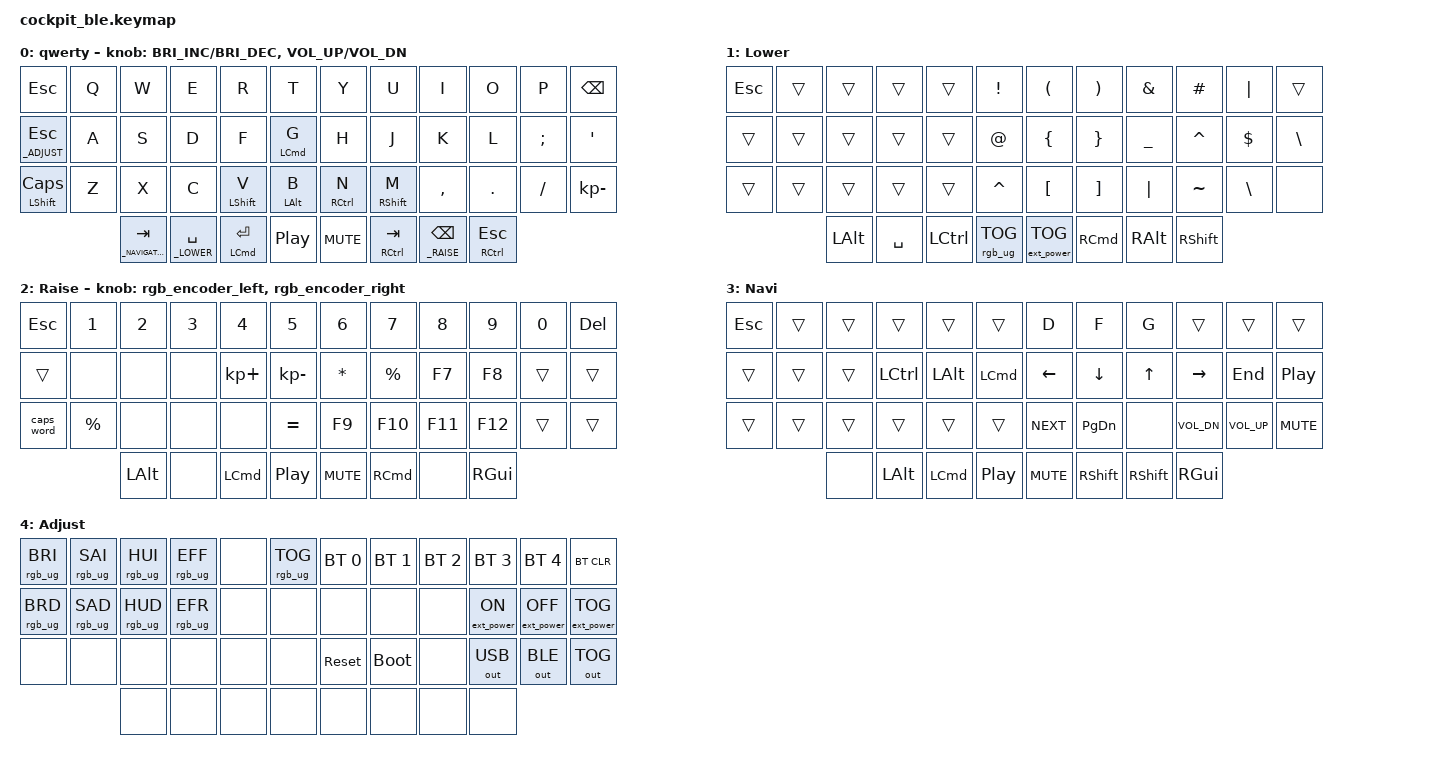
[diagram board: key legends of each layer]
/*
 * Copyright (c) 2023 ozkan (github.com/ozkan)
 *
 * SPDX-License-Identifier: MIT
 */

#include <behaviors.dtsi>
#include <dt-bindings/zmk/keys.h>
#include <dt-bindings/zmk/ext_power.h>
#include <dt-bindings/zmk/outputs.h>
#include <dt-bindings/zmk/bt.h>
#include <dt-bindings/zmk/rgb.h>


// Layers
#define _QWERTY       0
#define _LOWER         1
#define _RAISE         2
// #define _SPACE_RIGHT   3
// #define _SPACE_LEFT    4
#define _NAVIGATION    3
#define _ADJUST        4

// Using layer taps on thumbs, having quick tap as well helps w/ repeating space
&lt {
  quick_tap_ms = <200>;
};

&left_encoder {
     resolution = <4>;
};
&right_encoder {
     resolution = <4>;
};


/ {
    behaviors {
        ht: hold_tap {
            label = "hold_tap";
            compatible = "zmk,behavior-hold-tap";
            #binding-cells = <2>;
            flavor = "tap-preferred";
            tapping-term-ms = <200>;
            quick-tap-ms = <150>;
            global-quick-tap;
            bindings = <&kp>, <&kp>;
        };
        rgb_encoder_right: rgb_encoder_right {
            compatible = "zmk,behavior-sensor-rotate";
            label = "RGB_ENCODER_RIGHT";
            #sensor-binding-cells = <0>;
            bindings =  <&rgb_ug RGB_BRI>, <&rgb_ug RGB_BRD>;
        };
        rgb_encoder_left: rgb_encoder_left {
            compatible = "zmk,behavior-sensor-rotate";
            label = "RGB_ENCODER_LEFT";
            #sensor-binding-cells = <0>;
            bindings = <&rgb_ug RGB_EFF>, <&rgb_ug RGB_EFR>;
        };

    };

    keymap {
        compatible = "zmk,keymap";
        default_layer {
       // ╭──────┬──────┬──────┬──────┬──────┬──────╮                          ╭──────┬──────┬──────┬──────┬──────┬──────╮
       // │  ESC │  Q   │  W   │  E   │  R   │  T   │                          │  Y   │  U   │  I   │  O   │   P  │ BKSP │
       // ├──────┼──────┼──────┼──────┼──────┼──────┤                          ├──────┼──────┼──────┼──────┼──────┼──────┤
       // │   Z  │  A   │  S   │  D   │  F   │  G   │                          │  H   │  J   │  K   │  L   │  ;   │  '   │
       // ├──────┼──────┼──────┼──────┼──────┼──────┤                          ├──────┼──────┼──────┼──────┼──────┼──────┤
       // │SFT_CL│  Z   │  X   │  C   │  V   │  B   │         (ENCODERS)       │  N   │  M   │,     │.     │  /   │      |
       // ╰──────┴──────┴──────┼──────┼──────┼──────┴─╮ ╭────────╮╭────────╮ ╭─┴──────┼──────┼──────┼──────┴──────┴──────╯
       //                      │  NAV │LOWER │ SPACE  │ │  PAUSE ││  PAUSE │ │ SPACE  │RAISE │ WIN  │
       //                      ╰──────┴──────┴────────╯ ╰────────╯╰────────╯ ╰────────┴──────┴──────╯
            label = "qwerty";
            bindings = <
                &kp ESC        &kp Q      &kp W       &kp E       &kp R              &kp T                           &kp Y  &kp U    &kp I      &kp O     &kp P &kp BKSP
                &lt _ADJUST ESC      &kp A      &kp S       &kp D       &kp F              &ht LCMD G                            &kp H    &kp J      &kp K       &kp L        &kp SEMI  &kp SQT
                &ht LSHFT CLCK &kp Z      &kp X       &kp C       &ht LSHFT V              &ht LALT B                           &ht RCTRL N &ht RSHFT M  &kp COMMA         &kp DOT            &kp FSLH     &kp KP_MINUS
                                    &lt _NAVIGATION TAB    &lt _LOWER SPACE    &ht LCMD ENTER         &kp C_PLAY_PAUSE  &kp C_MUTE       &ht RCTRL TAB          &lt _RAISE BSPC     &ht RCTRL ESC
            >;
            sensor-bindings = <&inc_dec_kp C_BRI_INC C_BRI_DEC &inc_dec_kp C_VOL_UP C_VOL_DN>;
        };


        lower_layer {
        // ╭──────┬──────┬──────┬──────┬──────┬──────╮                          ╭──────┬──────┬──────┬──────┬──────┬──────╮
        // │ ESC  │      │      │      │      │   !  │                          │  (   │  )   │  &   │      │      │ DEL  │
        // ├──────┼──────┼──────┼──────┼──────┼──────┤                          ├──────┼──────┼──────┼──────┼──────┼──────┤
        // │      │      │      │      │      │   @  │                          │  {   │  }   │  _   │  $   │  #   │      │
        // ├──────┼──────┼──────┼──────┼──────┼──────┤                          ├──────┼──────┼──────┼──────┼──────┼──────┤
        // │      │      │      │      │      │   ^  │                          │  [   │  ]   │  |   │  ~   │  \   │      │
        // ╰──────┴──────┴──────┼──────┼──────┼──────┴─╮ ╭────────╮╭────────╮ ╭─┴──────┼──────┼──────┼──────┴──────┴──────╯
        //                      │  ALT │LOWER │ SPACE  │ │  PREV  ││  NEXT  │ │  ENTER │RAISE │ WIN  │
        //                      ╰──────┴──────┴────────╯ ╰────────╯╰────────╯ ╰────────┴──────┴──────╯
            label = "Lower";
            bindings = <
                &kp ESC  &trans  &trans   &trans        &trans          &kp EXCL                        &kp LPAR  &kp RPAR      &kp AMPS        &kp HASH           &kp PIPE  &trans
                &trans   &trans  &trans   &trans        &trans          &kp AT                        &kp LBRC  &kp RBRC      &kp UNDER          &kp CARET           &kp DOLLAR     &kp BACKSLASH
                &trans   &trans  &trans   &trans        &trans          &kp CARET                        &kp LBKT  &kp RBKT      &kp PIPE   &kp TILDE  &kp BSLH &none
                                 &kp LALT  &kp SPACE    &kp LCTRL         &rgb_ug RGB_TOG  &ext_power EP_TOG       &kp RCMD      &kp RALT     &kp RSHFT
            >;

        };


        raise_layer {
        // ╭──────┬──────┬──────┬──────┬──────┬──────╮                          ╭──────┬──────┬──────┬──────┬──────┬──────╮
        // │ ESC  │  1   │  2   │  3   │  4   │  5   │                          │  6   │  7   │   8  │   9  │  0   │      │
        // ├──────┼──────┼──────┼──────┼──────┼──────┤                          ├──────┼──────┼──────┼──────┼──────┼──────┤
        // │      │  *   │  4   │  5   │  +   │  -   │                          │  *   │  %   │  F7  │  F8  │      │      │
        // ├──────┼──────┼──────┼──────┼──────┼──────┤                          ├──────┼──────┼──────┼──────┼──────┼──────┤
        // │      │  %   │  1   │  2   │  3   │  =   │                          │  F9  │  F10 │ F11  │  F1  │      │      │
        // ╰──────┴──────┴──────┼──────┼──────┼──────┴─╮ ╭────────╮╭────────╮ ╭─┴──────┼──────┼──────┼──────┴──────┴──────╯
        //                      │  ALT |  0   │ SPACE  │ │  PAUSE ││  PAUSE │ │ CMD   │RAISE │ WIN  │
        //                      ╰──────┴──────┴────────╯ ╰────────╯╰────────╯ ╰────────┴──────┴──────╯
            label = "Raise";
            bindings = <
                &kp ESC      &kp N1    &kp N2    &kp N3        &kp N4         &kp N5                      &kp N6  &kp N7                  &kp N8            &kp N9       &kp N0   &kp DEL
                &trans       &none   &none    &none        &kp KP_PLUS         &kp KP_MINUS                       &kp STAR   &kp PRCNT                  &kp F7            &kp F8       &trans   &trans
                &caps_word   &kp PRCNT   &none    &none        &none         &kp EQUAL                            &kp F9  &kp F10                 &kp F11           &kp F12      &trans   &trans
                                         &kp LALT  &none    &kp LCMD         &kp C_PLAY_PAUSE  &kp C_MUTE       &kp RCMD          &none     &kp RIGHT_GUI
            >;

            sensor-bindings = <&rgb_encoder_left &rgb_encoder_right>;
        };

        // space_right_layer {
        // // ╭──────┬──────┬──────┬──────┬──────┬──────╮                          ╭──────┬──────┬──────┬──────┬──────┬──────╮
        // // │ ESC  │      │      │  €   │  £   │  Ğ   │                          │      │      │      │      │      │      │
        // // ├──────┼──────┼──────┼──────┼──────┼──────┤                          ├──────┼──────┼──────┼──────┼──────┼──────┤
        // // │      │  !   │  @   │  Ş   │  ₺   │      │                          │      │      │      │      │      │      │
        // // ├──────┼──────┼──────┼──────┼──────┼──────┤                          ├──────┼──────┼──────┼──────┼──────┼──────┤
        // // │      │      │      │  Ç   │      │      │                          │      │      │      │      │      │      │
        // // ╰──────┴──────┴──────┼──────┼──────┼──────┴─╮ ╭────────╮╭────────╮ ╭─┴──────┼──────┼──────┼──────┴──────┴──────╯
        // //                      │  ALT │LOWER │ SPACE  │ │  PAUSE ││  PAUSE │ │ SPACE  │RAISE │ WIN  │
        // //                      ╰──────┴──────┴────────╯ ╰────────╯╰────────╯ ╰────────┴──────┴──────╯
        //     label = "Space R";
        //     bindings = <
        //         &kp ESC      &trans    &trans     &kp RA(E)        &kp  RA(N2)     &kp LBKT                      &trans            &trans                  &trans          &trans   &trans    &trans
        //         &trans       &kp EXCL  &kp RA(Q)  &kp SEMI         &kp  RA(T)      &trans                        &trans            &trans                  &trans          &trans   &trans    &trans
        //         &trans       &trans    &trans     &ht LSHFT  DOT   &trans          &trans                        &trans            &trans                  &trans          &trans   &trans    &trans
        //                                &kp LALT  &lt _LOWER TAB    &lt _SPACE_LEFT SPACE         &kp C_PLAY_PAUSE  &kp C_MUTE       &lt _SPACE_RIGHT SPACE          &mo _RAISE     &kp RIGHT_GUI
        //         >;
        // };

        // space_left_layer {
        // // ╭──────┬──────┬──────┬──────┬──────┬──────╮                          ╭──────┬──────┬──────┬──────┬──────┬──────╮
        // // │      │      │      │      │      │      │                          │      │      │  Ü   │      │  :   │ DEL  │
        // // ├──────┼──────┼──────┼──────┼──────┼──────┤                          ├──────┼──────┼──────┼──────┼──────┼──────┤
        // // │      │      │      │      │      │      │                          │      │      │  I   │  I   │  Ö   │   `  │
        // // ├──────┼──────┼──────┼──────┼──────┼──────┤                          ├──────┼──────┼──────┼──────┼──────┼──────┤
        // // │      │      │      │      │      │      │                          │      │      │  ^   │  ~   │  ?   │ ENT  │
        // // ╰──────┴──────┴──────┼──────┼──────┼──────┴─╮ ╭────────╮╭────────╮ ╭─┴──────┼──────┼──────┼──────┴──────┴──────╯
        // //                      │  ALT │LOWER │ SPACE  │ │RGB_TOG ││ EP_TOG │ │ SPACE  │RAISE │ WIN  │
        // //                      ╰──────┴──────┴────────╯ ╰────────╯╰────────╯ ╰────────┴──────┴──────╯
        //     label = "Space L";
        //     bindings = <
        //         &trans       &trans    &trans     &trans         &trans             &trans                     &trans          &trans      &kp RBKT            &trans         &kp LS(SLASH)   &kp DEL
        //         &trans       &trans    &trans     &trans         &trans             &trans                     &trans          &trans      &kp LS(I)           &kp I          &kp COMMA       &kp RA(NON_US_HASH)
        //         &trans       &trans    &trans     &trans         &trans             &trans                     &trans          &trans      &ht RSHFT RS(N3)    &kp RA(RBKT)   &kp UNDER       &trans
        //                                &kp LALT  &lt _LOWER TAB    &lt _SPACE_LEFT SPACE       &rgb_ug RGB_TOG  &ext_power EP_TOG     &lt _SPACE_RIGHT SPACE          &mo _RAISE     &kp RIGHT_GUI
        //     >;
        //     sensor-bindings = <&rgb_encoder_left &rgb_encoder_right>;
        // };

        navigation_layer {
        // ╭──────┬──────┬──────┬──────┬──────┬──────╮                          ╭──────┬──────┬──────┬──────┬──────┬──────╮
        // │ ESC  │      │      │      │      │      │                          │C_PREV│ PGUP │  UP  │      │      │      │
        // ├──────┼──────┼──────┼──────┼──────┼──────┤                          ├──────┼──────┼──────┼──────┼──────┼──────┤
        // │      │      │      │ ctrl │alt   │ cmd  │                          │ LEFT │ down   │ up │ RGHT │ END  │MPLY  │
        // ├──────┼──────┼──────┼──────┼──────┼──────┤                          ├──────┼──────┼──────┼──────┼──────┼──────┤
        // │      │      │      │      │      │      │                          │C_NEXT│PGDOWN│      │VLDOWN│ VLUP │MUTE  │
        // ╰──────┴──────┴──────┼──────┼──────┼──────┴─╮ ╭────────╮╭────────╮ ╭─┴──────┼──────┼──────┼──────┴──────┴──────╯
        //                      │  ALT │LOWER │ SPACE  │ │  PAUSE ││  PAUSE │ │ SPACE  |SHIFT │ WIN  │
        //                      ╰──────┴──────┴────────╯ ╰────────╯╰────────╯ ╰────────┴──────┴──────╯
            label = "Navi";
            bindings = <
                &kp ESC      &trans    &trans     &trans           &trans       &trans       &kp D              &kp F   &kp G                  &trans         &trans         &trans
                &trans       &trans    &trans     &kp LCTRL           &kp LALT       &kp LCMD       &kp LEFT       &kp DOWN    &kp UP                &kp RIGHT      &kp END        &kp C_PLAY_PAUSE
                &trans       &trans    &trans     &trans           &trans       &trans       &kp C_NEXT              &kp PG_DN   &none                   &kp C_VOL_DN   &kp C_VOL_UP   &kp C_MUTE
                                       &none  &kp LALT    &kp LCMD         &kp C_PLAY_PAUSE  &kp C_MUTE       &kp RSHFT         &kp RSHFT     &kp RIGHT_GUI
            >;
        };

        adjust_layer {
        // ╭──────┬──────┬──────┬──────┬──────┬──────╮                          ╭──────┬──────┬──────┬──────┬──────┬──────╮
        // │ BRI+ │ SAT+ │ HUE+ │ ANI+ │      │ TOG  │                          │  BT1 │ BT2  │ BT3  │ BT4  │ BT5  │BT_CLR│
        // ├──────┼──────┼──────┼──────┼──────┼──────┤                          ├──────┼──────┼──────┼──────┼──────┼──────┤
        // // │ BRI- │ SAT- │ HUE- │ ANI- │      │      │                          │      │      │      │EP_ON │EP_OFF│EP_TOG│
        // // ├──────┼──────┼──────┼──────┼──────┼──────┤                          ├──────┼──────┼──────┼──────┼──────┼──────┤
        // // │      │      │      │      │      │      │                          │RESET │ BOOT │      │O_USB │O_BLE │OUTTOG│
        // // ╰──────┴──────┴──────┼──────┼──────┼──────┴─╮ ╭────────╮╭────────╮ ╭─┴──────┼──────┼──────┼──────┴──────┴──────╯
        // //                      │  ALT │LOWER │ SPACE  │ │  PAUSE ││  PAUSE │ │ SPACE  │RAISE │ WIN  │
        // //                      ╰──────┴──────┴────────╯ ╰────────╯╰────────╯ ╰────────┴──────┴──────╯
            label = "Adjust";
            bindings = <
                &rgb_ug RGB_BRI &rgb_ug RGB_SAI &rgb_ug RGB_HUI &rgb_ug RGB_EFF &none &rgb_ug RGB_TOG              &bt BT_SEL 0 &bt BT_SEL 1  &bt BT_SEL 2 &bt BT_SEL 3       &bt BT_SEL 4        &bt BT_CLR
                &rgb_ug RGB_BRD &rgb_ug RGB_SAD &rgb_ug RGB_HUD &rgb_ug RGB_EFR &none &none                        &none        &none         &none        &ext_power EP_ON   &ext_power EP_OFF   &ext_power EP_TOG
                &none           &none           &none           &none           &none &none                        &sys_reset   &bootloader   &none        &out OUT_USB       &out OUT_BLE        &out OUT_TOG
                                                &none           &none           &none         &none      &none     &none        &none        &none
            >;
        };
    };
};
